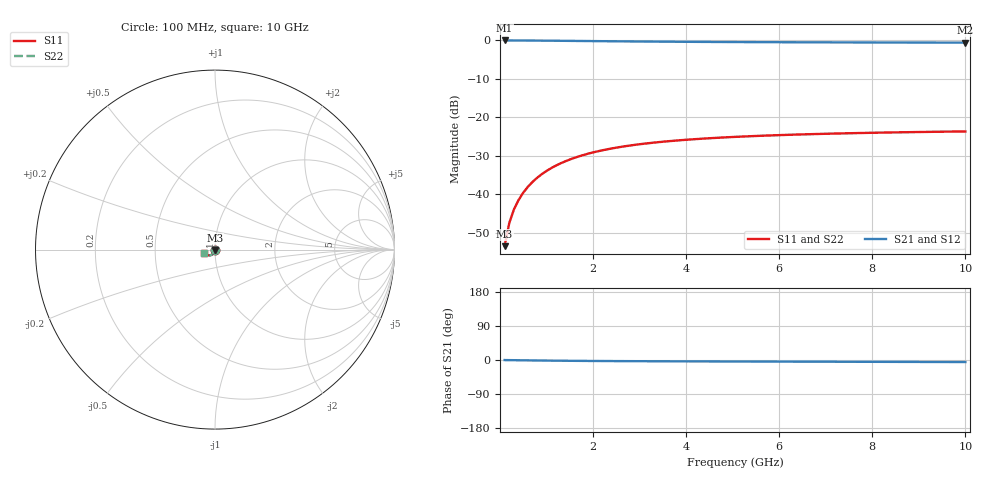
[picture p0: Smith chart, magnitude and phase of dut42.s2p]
! Touchstone file exported from HFSS 2024.1.0
!  File:  C:/UserFiles/LocalFiles/RDL_TSV_Batchsim/temp_TSV1_42_1778827033.aedt
!  Generated:  02:44:46 PM May 15, 2026
!  Design:  TSV1
!  Project:  temp_TSV1_42_1778827033
!  Setup:  Setup1
!  Solution:  Sweep
! Variables:
!  dtsv = 16.29um
!  hbump = 3um
!  htsv = 80.79um
!  lrdl = 252.1521522um
!  p = 40
!  p1 = 56.12um
!  t = 500um
!  trdl = 3um
!  wrdl = 24.89489489um
# GHz S MA R 50.000000
! Terminal data exported
! Port[1] = TSV22_T1
! Port[2] = TSV22_T2
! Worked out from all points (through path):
!   100 points, 100 MHz to 10 GHz, reference 50 ohm
!   highest |S21| = 0.00 dB at 100 MHz (marker M1); lowest = -0.6 dB at 10 GHz (marker M2)
!   lowest |S11| = -53.5 dB at 100 MHz (marker M3), VSWR 1.00, Z = 50 - j0.211 ohm
!   |S11| at or under -10 dB: start of sweep to end of sweep
!   |S22| runs from -53.5 to -23.7 dB; largest |S21 - S12| = 7.6e-15
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0.1  0.002108 -89.9  0.9998 -0.2  0.9998 -0.2  0.002108 -89.9
! Gamma 0 0 0 0
! Port Impedance 50 0 50 0
0.2  0.004219 -92.7  0.9996 -0.3  0.9996 -0.3  0.004219 -92.7
0.3  0.006322 -94.9  0.9992 -0.5  0.9992 -0.5  0.006322 -94.9
0.4  0.008405 -97.0  0.9987 -0.7  0.9987 -0.7  0.008405 -97.0
0.5  0.01046 -99.1  0.9981 -0.8  0.9981 -0.8  0.01046 -99.1
0.6  0.01247 -101.0  0.9974 -1.0  0.9974 -1.0  0.01247 -101.0
0.7  0.01445 -103.0  0.9965 -1.1  0.9965 -1.1  0.01445 -103.0
0.8  0.01637 -104.8  0.9956 -1.3  0.9956 -1.3  0.01637 -104.8
0.9  0.01824 -106.7  0.9946 -1.4  0.9946 -1.4  0.01824 -106.7
1.1  0.02182 -110.2  0.9923 -1.7  0.9923 -1.7  0.02182 -110.2
1.4  0.02674 -115.0  0.9886 -2.0  0.9886 -2.0  0.02674 -115.0
1.6  0.02971 -118.0  0.986 -2.2  0.986 -2.2  0.02971 -118.0
1.8  0.03244 -120.9  0.9834 -2.4  0.9834 -2.4  0.03244 -120.9
2.1  0.03612 -124.7  0.9796 -2.6  0.9796 -2.6  0.03612 -124.7
2.5  0.04032 -129.3  0.9747 -2.9  0.9747 -2.9  0.04032 -129.3
2.9  0.04385 -133.3  0.9703 -3.1  0.9703 -3.1  0.04385 -133.3
3.4  0.0475 -137.6  0.9653 -3.4  0.9653 -3.4  0.0475 -137.6
4.2  0.05204 -143.2  0.9588 -3.7  0.9588 -3.7  0.05204 -143.2
5.1  0.05583 -148.2  0.953 -4.0  0.953 -4.0  0.05583 -148.2
6.7  0.06043 -154.9  0.9456 -4.4  0.9456 -4.4  0.06043 -154.9
8.4  0.06357 -160.2  0.9404 -4.9  0.9404 -4.9  0.06357 -160.2
10  0.06555 -164.1  0.937 -5.4  0.937 -5.4  0.06555 -164.1
